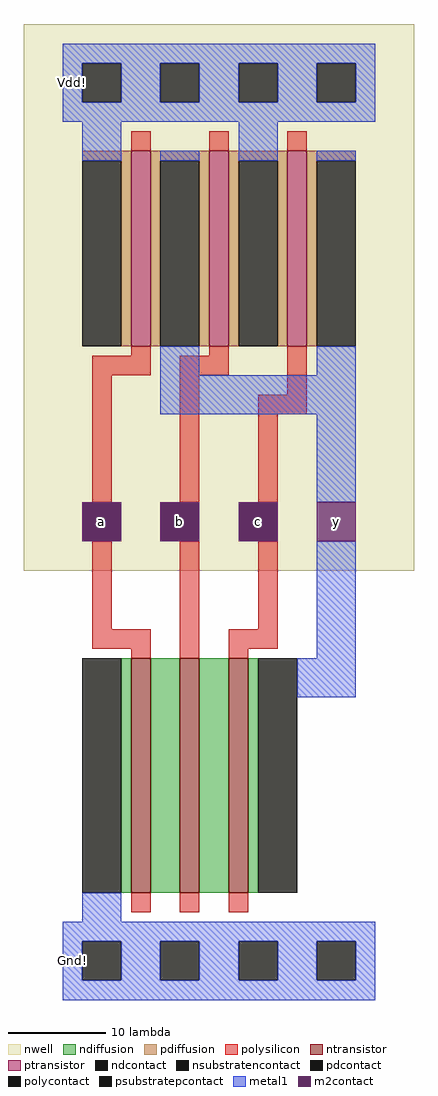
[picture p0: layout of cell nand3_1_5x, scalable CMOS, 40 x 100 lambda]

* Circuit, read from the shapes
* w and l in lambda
.subckt nand3_1_5x Gnd! Vdd! a b c y
M1 n1 a Gnd! Gnd! nfet w=24 l=2
M2 n2 b n1 Gnd! nfet w=24 l=2
M3 y c n2 Gnd! nfet w=24 l=2
M4 y a Vdd! Vdd! pfet w=20 l=2
M5 Vdd! b y Vdd! pfet w=20 l=2
M6 y c Vdd! Vdd! pfet w=20 l=2
.ends

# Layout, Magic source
magic
tech scmos
<< nwell >>
rect -6 40 34 96
<< ntransistor >>
rect 5 7 7 31
rect 10 7 12 31
rect 15 7 17 31
<< ptransistor >>
rect 5 63 7 83
rect 13 63 15 83
rect 21 63 23 83
<< ndiffusion >>
rect 4 7 5 31
rect 7 7 10 31
rect 12 7 15 31
rect 17 7 18 31
<< pdiffusion >>
rect 0 82 5 83
rect 4 63 5 82
rect 7 82 13 83
rect 7 63 8 82
rect 12 63 13 82
rect 15 82 21 83
rect 15 63 16 82
rect 20 63 21 82
rect 23 82 28 83
rect 23 63 24 82
<< ndcontact >>
rect 0 7 4 31
rect 18 7 22 31
<< pdcontact >>
rect 0 63 4 82
rect 8 63 12 82
rect 16 63 20 82
rect 24 63 28 82
<< psubstratepcontact >>
rect 0 -2 4 2
rect 8 -2 12 2
rect 16 -2 20 2
rect 24 -2 28 2
<< nsubstratencontact >>
rect 0 88 4 92
rect 8 88 12 92
rect 16 88 20 92
rect 24 88 28 92
<< polysilicon >>
rect 5 83 7 85
rect 13 83 15 85
rect 21 83 23 85
rect 5 62 7 63
rect 13 62 15 63
rect 1 60 7 62
rect 10 60 15 62
rect 1 47 3 60
rect 10 47 12 60
rect 21 58 23 63
rect 18 56 23 58
rect 18 47 20 56
rect 1 34 3 43
rect 1 32 7 34
rect 5 31 7 32
rect 10 31 12 43
rect 18 34 20 43
rect 15 32 20 34
rect 15 31 17 32
rect 5 5 7 7
rect 10 5 12 7
rect 15 5 17 7
<< polycontact >>
rect 0 43 4 47
rect 8 43 12 47
rect 16 43 20 47
<< metal1 >>
rect -2 92 30 94
rect -2 88 0 92
rect 4 88 8 92
rect 12 88 16 92
rect 20 88 24 92
rect 28 88 30 92
rect -2 86 30 88
rect 0 82 4 86
rect 8 82 12 83
rect 16 82 20 86
rect 24 82 28 83
rect 8 60 12 63
rect 24 60 28 63
rect 8 56 28 60
rect 24 47 28 56
rect 24 31 28 43
rect 22 27 28 31
rect 0 4 4 7
rect -2 2 30 4
rect -2 -2 0 2
rect 4 -2 8 2
rect 12 -2 16 2
rect 20 -2 24 2
rect 28 -2 30 2
rect -2 -4 30 -2
<< m2contact >>
rect 0 43 4 47
rect 8 43 12 47
rect 16 43 20 47
rect 24 43 28 47
<< labels >>
rlabel m2contact 2 45 2 45 1 a
rlabel m2contact 10 45 10 45 1 b
rlabel m2contact 18 45 18 45 1 c
rlabel m2contact 26 45 26 45 1 y
rlabel metal1 -1 90 -1 90 3 Vdd!
rlabel metal1 -1 0 -1 0 3 Gnd!
<< end >>
